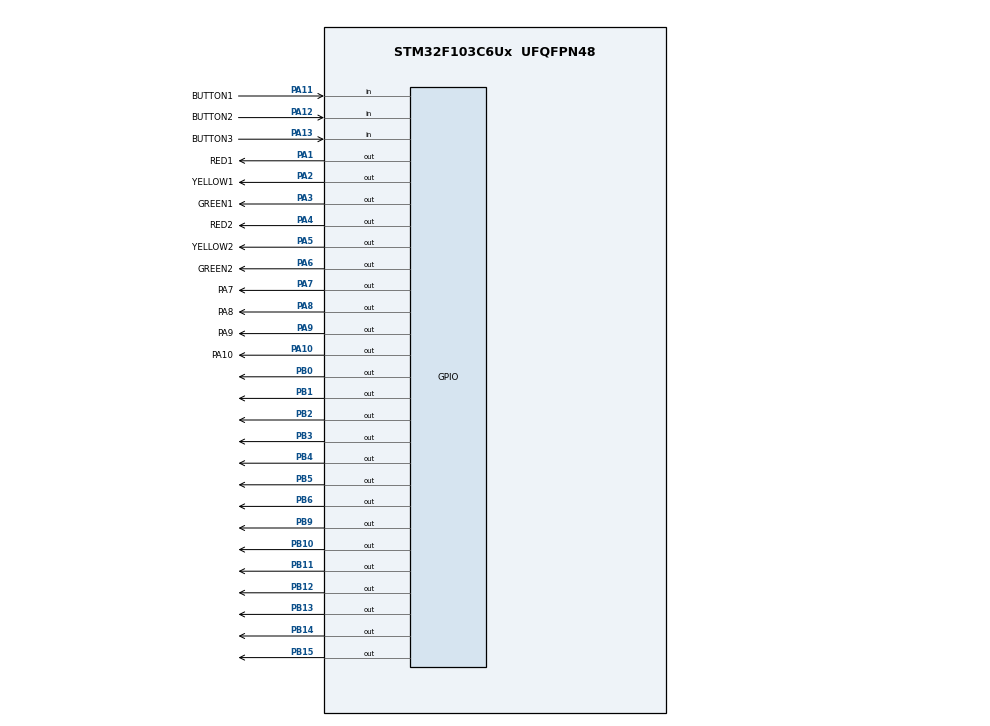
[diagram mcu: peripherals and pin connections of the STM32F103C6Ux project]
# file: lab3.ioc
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Mcu.Family=STM32F1
Mcu.Name=STM32F103C6Ux
Mcu.Package=UFQFPN48
NVIC.PriorityGroup=NVIC_PRIORITYGROUP_4
NVIC.TIM2_IRQn=true\:0\:0\:false\:false\:true\:true\:true
PA1.GPIO_Label=RED1
PA1.Signal=GPIO_Output
PA10.GPIO_Label=PA10
PA10.Signal=GPIO_Output
PA11.GPIO_Label=BUTTON1
PA11.GPIO_PuPd=GPIO_PULLUP
PA11.Signal=GPIO_Input
PA12.GPIO_Label=BUTTON2
PA12.GPIO_PuPd=GPIO_PULLUP
PA12.Signal=GPIO_Input
PA13.GPIO_Label=BUTTON3
PA13.GPIO_PuPd=GPIO_PULLUP
PA13.Signal=GPIO_Input
PA2.GPIO_Label=YELLOW1
PA2.Signal=GPIO_Output
PA3.GPIO_Label=GREEN1
PA3.Signal=GPIO_Output
PA4.GPIO_Label=RED2
PA4.Signal=GPIO_Output
PA5.GPIO_Label=YELLOW2
PA5.Signal=GPIO_Output
PA6.GPIO_Label=GREEN2
PA6.Signal=GPIO_Output
PA7.GPIO_Label=PA7
PA7.Signal=GPIO_Output
PA8.GPIO_Label=PA8
PA8.Signal=GPIO_Output
PA9.GPIO_Label=PA9
PA9.Signal=GPIO_Output
PB0.Signal=GPIO_Output
PB1.Signal=GPIO_Output
PB10.Signal=GPIO_Output
PB11.Signal=GPIO_Output
PB12.Signal=GPIO_Output
PB13.Signal=GPIO_Output
PB14.Signal=GPIO_Output
PB15.Signal=GPIO_Output
PB2.Signal=GPIO_Output
PB3.Signal=GPIO_Output
PB4.Signal=GPIO_Output
PB5.Signal=GPIO_Output
PB6.Signal=GPIO_Output
PB9.Signal=GPIO_Output
ProjectManager.HeapSize=0x200
ProjectManager.StackSize=0x400
ProjectManager.TargetToolchain=STM32CubeIDE
RCC.APB1Freq_Value=8000000
RCC.APB2Freq_Value=8000000
TIM2.Period=10
TIM2.Prescaler=7999
VP_SYS_VS_ND.Mode=No_Debug
VP_TIM2_VS_ClockSourceINT.Mode=Internal
board=custom

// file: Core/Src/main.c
/* USER CODE BEGIN Header */
/**
  ******************************************************************************
  * @file           : main.c
  * @brief          : Main program body
  ******************************************************************************
  * @attention
  *
  * <h2><center>&copy; Copyright (c) 2023 STMicroelectronics.
  * All rights reserved.</center></h2>
  *
  * This software component is licensed by ST under BSD 3-Clause license,
  * the "License"; You may not use this file except in compliance with the
  * License. You may obtain a copy of the License at:
  *                        opensource.org/licenses/BSD-3-Clause
  *
  ******************************************************************************
  */
/* USER CODE END Header */
#include "main.h"

/* USER CODE BEGIN Includes */
#include "traffic.h"
#include "input_reading.h"
#include "input_processing.h"
#include "software_timer.h"
#include "fsm_automatic.h"
#include "global.h"
#include "mode.h"
/* USER CODE END Includes */

TIM_HandleTypeDef htim2;

void SystemClock_Config(void);
static void MX_GPIO_Init(void);
static void MX_TIM2_Init(void);

int main(void)
{

  /* MCU Configuration--------------------------------------------------------*/

  /* Reset of all peripherals, Initializes the Flash interface and the Systick. */
  HAL_Init();

  /* Configure the system clock */
  SystemClock_Config();

  /* Initialize all configured peripherals */
  MX_GPIO_Init();
  MX_TIM2_Init();
  /* USER CODE BEGIN 2 */
  HAL_TIM_Base_Start_IT(&htim2);
  /* USER CODE END 2 */

  /* Infinite loop */
  /* USER CODE BEGIN WHILE */
  uint32_t prescaler=htim2.Init.Prescaler;
  uint32_t period= htim2.Init.Period;
  calculate_x(prescaler,period);
  status=INIT;
  setTimer4(50*x);
  while (1)
  {
    /* USER CODE END WHILE */
	  fsm_automatic_run();
	  fsm_mode();
	  fsm_7SEG();
  }
}

void SystemClock_Config(void)
{
  RCC_OscInitTypeDef RCC_OscInitStruct = {0};
  RCC_ClkInitTypeDef RCC_ClkInitStruct = {0};

  /** Initializes the RCC Oscillators according to the specified parameters
  * in the RCC_OscInitTypeDef structure.
  */
  RCC_OscInitStruct.OscillatorType = RCC_OSCILLATORTYPE_HSI;
  RCC_OscInitStruct.HSIState = RCC_HSI_ON;
  RCC_OscInitStruct.HSICalibrationValue = RCC_HSICALIBRATION_DEFAULT;
  RCC_OscInitStruct.PLL.PLLState = RCC_PLL_NONE;
  if (HAL_RCC_OscConfig(&RCC_OscInitStruct) != HAL_OK)
  {
    Error_Handler();
  }
  /** Initializes the CPU, AHB and APB buses clocks
  */
  RCC_ClkInitStruct.ClockType = RCC_CLOCKTYPE_HCLK|RCC_CLOCKTYPE_SYSCLK
                              |RCC_CLOCKTYPE_PCLK1|RCC_CLOCKTYPE_PCLK2;
  RCC_ClkInitStruct.SYSCLKSource = RCC_SYSCLKSOURCE_HSI;
  RCC_ClkInitStruct.AHBCLKDivider = RCC_SYSCLK_DIV1;
  RCC_ClkInitStruct.APB1CLKDivider = RCC_HCLK_DIV1;
  RCC_ClkInitStruct.APB2CLKDivider = RCC_HCLK_DIV1;

  if (HAL_RCC_ClockConfig(&RCC_ClkInitStruct, FLASH_LATENCY_0) != HAL_OK)
  {
    Error_Handler();
  }
}

static void MX_TIM2_Init(void)
{

  TIM_ClockConfigTypeDef sClockSourceConfig = {0};
  TIM_MasterConfigTypeDef sMasterConfig = {0};

  htim2.Instance = TIM2;
  htim2.Init.Prescaler = 7999;
  htim2.Init.CounterMode = TIM_COUNTERMODE_UP;
  htim2.Init.Period = 10;
  htim2.Init.ClockDivision = TIM_CLOCKDIVISION_DIV1;
  htim2.Init.AutoReloadPreload = TIM_AUTORELOAD_PRELOAD_DISABLE;
  if (HAL_TIM_Base_Init(&htim2) != HAL_OK)
  {
    Error_Handler();
  }
  sClockSourceConfig.ClockSource = TIM_CLOCKSOURCE_INTERNAL;
  if (HAL_TIM_ConfigClockSource(&htim2, &sClockSourceConfig) != HAL_OK)
  {
    Error_Handler();
  }
  sMasterConfig.MasterOutputTrigger = TIM_TRGO_RESET;
  sMasterConfig.MasterSlaveMode = TIM_MASTERSLAVEMODE_DISABLE;
  if (HAL_TIMEx_MasterConfigSynchronization(&htim2, &sMasterConfig) != HAL_OK)
  {
    Error_Handler();
  }

}

static void MX_GPIO_Init(void)
{
  GPIO_InitTypeDef GPIO_InitStruct = {0};

  /* GPIO Ports Clock Enable */
  __HAL_RCC_GPIOA_CLK_ENABLE();
  __HAL_RCC_GPIOB_CLK_ENABLE();

  /*Configure GPIO pin Output Level */
  HAL_GPIO_WritePin(GPIOA, RED1_Pin|YELLOW1_Pin|GREEN1_Pin|RED2_Pin
                          |YELLOW2_Pin|GREEN2_Pin|PA7_Pin|PA8_Pin
                          |PA9_Pin|PA10_Pin, GPIO_PIN_RESET);

  /*Configure GPIO pin Output Level */
  HAL_GPIO_WritePin(GPIOB, GPIO_PIN_0|GPIO_PIN_1|GPIO_PIN_2|GPIO_PIN_10
                          |GPIO_PIN_11|GPIO_PIN_12|GPIO_PIN_13|GPIO_PIN_14
                          |GPIO_PIN_15|GPIO_PIN_3|GPIO_PIN_4|GPIO_PIN_5
                          |GPIO_PIN_6|GPIO_PIN_9, GPIO_PIN_RESET);

  /*Configure GPIO pins : RED1_Pin YELLOW1_Pin GREEN1_Pin RED2_Pin
                           YELLOW2_Pin GREEN2_Pin PA7_Pin PA8_Pin
                           PA9_Pin PA10_Pin */
  GPIO_InitStruct.Pin = RED1_Pin|YELLOW1_Pin|GREEN1_Pin|RED2_Pin
                          |YELLOW2_Pin|GREEN2_Pin|PA7_Pin|PA8_Pin
                          |PA9_Pin|PA10_Pin;
  GPIO_InitStruct.Mode = GPIO_MODE_OUTPUT_PP;
  GPIO_InitStruct.Pull = GPIO_NOPULL;
  GPIO_InitStruct.Speed = GPIO_SPEED_FREQ_LOW;
  HAL_GPIO_Init(GPIOA, &GPIO_InitStruct);

  /*Configure GPIO pins : PB0 PB1 PB2 PB10
                           PB11 PB12 PB13 PB14
                           PB15 PB3 PB4 PB5
                           PB6 PB9 */
  GPIO_InitStruct.Pin = GPIO_PIN_0|GPIO_PIN_1|GPIO_PIN_2|GPIO_PIN_10
                          |GPIO_PIN_11|GPIO_PIN_12|GPIO_PIN_13|GPIO_PIN_14
                          |GPIO_PIN_15|GPIO_PIN_3|GPIO_PIN_4|GPIO_PIN_5
                          |GPIO_PIN_6|GPIO_PIN_9;
  GPIO_InitStruct.Mode = GPIO_MODE_OUTPUT_PP;
  GPIO_InitStruct.Pull = GPIO_NOPULL;
  GPIO_InitStruct.Speed = GPIO_SPEED_FREQ_LOW;
  HAL_GPIO_Init(GPIOB, &GPIO_InitStruct);

  /*Configure GPIO pins : BUTTON1_Pin BUTTON2_Pin BUTTON3_Pin */
  GPIO_InitStruct.Pin = BUTTON1_Pin|BUTTON2_Pin|BUTTON3_Pin;
  GPIO_InitStruct.Mode = GPIO_MODE_INPUT;
  GPIO_InitStruct.Pull = GPIO_PULLUP;
  HAL_GPIO_Init(GPIOA, &GPIO_InitStruct);

}

/* USER CODE BEGIN 4 */
void HAL_TIM_PeriodElapsedCallback(TIM_HandleTypeDef *htim) {
	timerRun();
	button_reading();
}
/* USER CODE END 4 */

void Error_Handler(void)
{
  __disable_irq();
  while (1)
  {
  }
}

/************************ (C) COPYRIGHT STMicroelectronics *****END OF FILE****/
